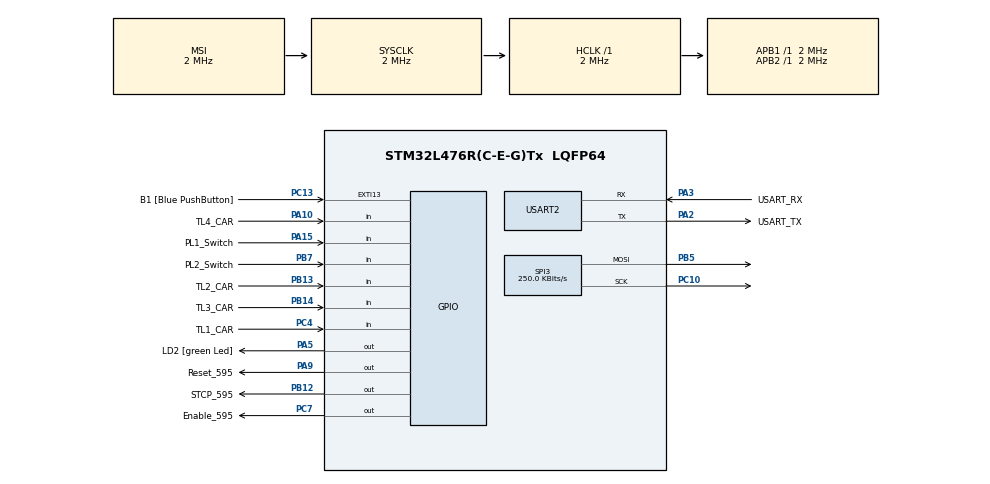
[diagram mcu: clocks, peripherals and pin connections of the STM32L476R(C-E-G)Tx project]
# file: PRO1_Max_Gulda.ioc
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Dma.Request0=SPI3_TX
Dma.SPI3_TX.0.Direction=DMA_MEMORY_TO_PERIPH
Dma.SPI3_TX.0.Instance=DMA2_Channel2
Dma.SPI3_TX.0.MemDataAlignment=DMA_MDATAALIGN_BYTE
Dma.SPI3_TX.0.MemInc=DMA_MINC_ENABLE
Dma.SPI3_TX.0.Mode=DMA_NORMAL
Dma.SPI3_TX.0.PeriphDataAlignment=DMA_PDATAALIGN_BYTE
Dma.SPI3_TX.0.PeriphInc=DMA_PINC_DISABLE
Dma.SPI3_TX.0.Priority=DMA_PRIORITY_LOW
FREERTOS.BinarySemaphores01=Semaphore,Dynamic,NULL
FREERTOS.Tasks01=defaultTask,24,128,StartDefaultTask,Default,NULL,Dynamic,NULL,NULL;toggleBlueLight,8,128,BlueLight,Default,NULL,Dynamic,NULL,NULL;UpdateInputOutp,40,128,inputOutput,Default,NULL,Dynamic,NULL,NULL;updateStateTask,24,128,updateState,Default,NULL,Dynamic,NULL,NULL
FREERTOS.Timers01=Delay,DelayCallback,osTimerOnce,Default,NULL,Dynamic,NULL
Mcu.Family=STM32L4
Mcu.Name=STM32L476R(C-E-G)Tx
Mcu.Package=LQFP64
NVIC.DMA2_Channel2_IRQn=true\:5\:0\:false\:false\:true\:true\:false\:true\:true
NVIC.PriorityGroup=NVIC_PRIORITYGROUP_4
NVIC.TIM1_UP_TIM16_IRQn=true\:15\:0\:false\:false\:true\:false\:false\:true\:true
NVIC.TimeBase=TIM1_UP_TIM16_IRQn
NVIC.TimeBaseIP=TIM1
PA10.GPIO_Label=TL4_CAR
PA10.GPIO_PuPd=GPIO_PULLUP
PA10.Signal=GPIO_Input
PA13\ (JTMS-SWDIO).GPIO_Label=TMS
PA13\ (JTMS-SWDIO).Mode=Serial_Wire
PA13\ (JTMS-SWDIO).Signal=SYS_JTMS-SWDIO
PA14\ (JTCK-SWCLK).GPIO_Label=TCK
PA14\ (JTCK-SWCLK).Mode=Serial_Wire
PA14\ (JTCK-SWCLK).Signal=SYS_JTCK-SWCLK
PA15\ (JTDI).GPIO_Label=PL1_Switch
PA15\ (JTDI).GPIO_PuPd=GPIO_PULLUP
PA15\ (JTDI).Signal=GPIO_Input
PA2.GPIO_Label=USART_TX
PA2.GPIO_Mode=GPIO_MODE_AF_PP
PA2.GPIO_PuPd=GPIO_NOPULL
PA2.GPIO_Speed=GPIO_SPEED_FREQ_VERY_HIGH
PA2.Mode=Asynchronous
PA2.Signal=USART2_TX
PA3.GPIO_Label=USART_RX
PA3.GPIO_Mode=GPIO_MODE_AF_PP
PA3.GPIO_PuPd=GPIO_NOPULL
PA3.GPIO_Speed=GPIO_SPEED_FREQ_VERY_HIGH
PA3.Mode=Asynchronous
PA3.Signal=USART2_RX
PA5.GPIO_Label=LD2 [green Led]
PA5.GPIO_ModeDefaultOutputPP=GPIO_MODE_OUTPUT_PP
PA5.GPIO_PuPd=GPIO_NOPULL
PA5.GPIO_Speed=GPIO_SPEED_FREQ_LOW
PA5.Signal=GPIO_Output
PA9.GPIO_Label=Reset_595
PA9.Signal=GPIO_Output
PB12.GPIO_Label=STCP_595
PB12.Signal=GPIO_Output
PB13.GPIO_Label=TL2_CAR
PB13.GPIO_PuPd=GPIO_PULLUP
PB13.Signal=GPIO_Input
PB14.GPIO_Label=TL3_CAR
PB14.GPIO_PuPd=GPIO_PULLUP
PB14.Signal=GPIO_Input
PB3\ (JTDO-TRACESWO).GPIO_Label=SWO
PB3\ (JTDO-TRACESWO).Signal=SYS_JTDO-SWO
PB5.Mode=TX_Only_Simplex_Unidirect_Master
PB5.Signal=SPI3_MOSI
PB7.GPIO_Label=PL2_Switch
PB7.GPIO_PuPd=GPIO_PULLUP
PB7.Signal=GPIO_Input
PC10.Mode=TX_Only_Simplex_Unidirect_Master
PC10.Signal=SPI3_SCK
PC13.GPIO_Label=B1 [Blue PushButton]
PC13.GPIO_ModeDefaultEXTI=GPIO_MODE_IT_FALLING
PC13.GPIO_PuPd=GPIO_NOPULL
PC13.Signal=GPXTI13
PC14-OSC32_IN\ (PC14).Mode=LSE-External-Oscillator
PC14-OSC32_IN\ (PC14).Signal=RCC_OSC32_IN
PC15-OSC32_OUT\ (PC15).Mode=LSE-External-Oscillator
PC15-OSC32_OUT\ (PC15).Signal=RCC_OSC32_OUT
PC4.GPIO_Label=TL1_CAR
PC4.GPIO_PuPd=GPIO_PULLUP
PC4.Signal=GPIO_Input
PC7.GPIO_Label=Enable_595
PC7.Signal=GPIO_Output
PH0-OSC_IN\ (PH0).Signal=RCC_OSC_IN
PH1-OSC_OUT\ (PH1).Signal=RCC_OSC_OUT
ProjectManager.HeapSize=0x200
ProjectManager.StackSize=0x400
ProjectManager.TargetToolchain=STM32CubeIDE
RCC.ADCFreq_Value=64000000
RCC.AHBFreq_Value=2000000
RCC.APB1Freq_Value=2000000
RCC.APB1TimFreq_Value=2000000
RCC.APB2Freq_Value=2000000
RCC.APB2TimFreq_Value=2000000
RCC.CortexFreq_Value=2000000
RCC.HCLKFreq_Value=2000000
RCC.HSE_VALUE=8000000
RCC.HSI_VALUE=16000000
RCC.MSIClockRange=RCC_MSIRANGE_5
RCC.MSI_VALUE=2000000
RCC.PLLN=10
RCC.PLLSourceVirtual=RCC_PLLSOURCE_HSI
RCC.PREFETCH_ENABLE=1
RCC.SYSCLKFreq_VALUE=2000000
RCC.USBFreq_Value=64000000
RCC.VCOOutputFreq_Value=160000000
SPI3.BaudRatePrescaler=SPI_BAUDRATEPRESCALER_8
SPI3.CalculateBaudRate=250.0 KBits/s
SPI3.DataSize=SPI_DATASIZE_8BIT
SPI3.Direction=SPI_DIRECTION_2LINES
SPI3.Mode=SPI_MODE_MASTER
SPI3.VirtualType=VM_MASTER
USART2.VirtualMode-Asynchronous=VM_ASYNC
VP_FREERTOS_VS_CMSIS_V2.Mode=CMSIS_V2
VP_SYS_VS_tim1.Mode=TIM1
board=NUCLEO-L476RG

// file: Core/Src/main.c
/* USER CODE BEGIN Header */
/**
  ******************************************************************************
  * @file           : main.c
  * @brief          : Main program body
  ******************************************************************************
  * @attention
  *
  * Copyright (c) 2023 STMicroelectronics.
  * All rights reserved.
  *
  * This software is licensed under terms that can be found in the LICENSE file
  * in the root directory of this software component.
  * If no LICENSE file comes with this software, it is provided AS-IS.
  *
  ******************************************************************************
  */
/* USER CODE END Header */
#include "main.h"
#include "cmsis_os.h"
#include "dma.h"
#include "spi.h"
#include "usart.h"
#include "gpio.h"

/* USER CODE BEGIN Includes */
#include <stdio.h>
/* USER CODE END Includes */

void SystemClock_Config(void);
void MX_FREERTOS_Init(void);

/* USER CODE BEGIN 0 */
#define PUTCHAR_PROTOTYPE int __io_putchar(int ch)
PUTCHAR_PROTOTYPE
{
  /* Place your implementation of fputc here */
  /* e.g. write a character to the USART1 and Loop until the end of transmission */
  HAL_UART_Transmit(&huart2, (uint8_t *)&ch, 1, 0xFFFF);

  return ch;
}
/* USER CODE END 0 */

int main(void)
{

  /* MCU Configuration--------------------------------------------------------*/

  /* Reset of all peripherals, Initializes the Flash interface and the Systick. */
  HAL_Init();

  /* Configure the system clock */
  SystemClock_Config();

  /* Initialize all configured peripherals */
  MX_GPIO_Init();
  MX_DMA_Init();
  MX_USART2_UART_Init();
  MX_SPI3_Init();
  /* USER CODE BEGIN 2 */
  initTrafficLights(&hspi3);
  init_TrafficInputs();
  printf("\n\rInit done\n\r");

  HAL_PWREx_EnableLowPowerRunMode();
  //Test_Program();

  /* USER CODE END 2 */

  /* Init scheduler */
  osKernelInitialize();  /* Call init function for freertos objects (in freertos.c) */
  MX_FREERTOS_Init();

  /* Start scheduler */
  osKernelStart();

  /* We should never get here as control is now taken by the scheduler */
  /* Infinite loop */
  while (1)
  {

  }
}

void SystemClock_Config(void)
{
  RCC_OscInitTypeDef RCC_OscInitStruct = {0};
  RCC_ClkInitTypeDef RCC_ClkInitStruct = {0};

  /** Configure the main internal regulator output voltage
  */
  if (HAL_PWREx_ControlVoltageScaling(PWR_REGULATOR_VOLTAGE_SCALE1) != HAL_OK)
  {
    Error_Handler();
  }

  /** Configure LSE Drive Capability
  */
  HAL_PWR_EnableBkUpAccess();
  __HAL_RCC_LSEDRIVE_CONFIG(RCC_LSEDRIVE_LOW);

  /** Initializes the RCC Oscillators according to the specified parameters
  * in the RCC_OscInitTypeDef structure.
  */
  RCC_OscInitStruct.OscillatorType = RCC_OSCILLATORTYPE_LSE|RCC_OSCILLATORTYPE_MSI;
  RCC_OscInitStruct.LSEState = RCC_LSE_ON;
  RCC_OscInitStruct.MSIState = RCC_MSI_ON;
  RCC_OscInitStruct.MSICalibrationValue = 0;
  RCC_OscInitStruct.MSIClockRange = RCC_MSIRANGE_5;
  RCC_OscInitStruct.PLL.PLLState = RCC_PLL_NONE;
  if (HAL_RCC_OscConfig(&RCC_OscInitStruct) != HAL_OK)
  {
    Error_Handler();
  }

  /** Initializes the CPU, AHB and APB buses clocks
  */
  RCC_ClkInitStruct.ClockType = RCC_CLOCKTYPE_HCLK|RCC_CLOCKTYPE_SYSCLK
                              |RCC_CLOCKTYPE_PCLK1|RCC_CLOCKTYPE_PCLK2;
  RCC_ClkInitStruct.SYSCLKSource = RCC_SYSCLKSOURCE_MSI;
  RCC_ClkInitStruct.AHBCLKDivider = RCC_SYSCLK_DIV1;
  RCC_ClkInitStruct.APB1CLKDivider = RCC_HCLK_DIV1;
  RCC_ClkInitStruct.APB2CLKDivider = RCC_HCLK_DIV1;

  if (HAL_RCC_ClockConfig(&RCC_ClkInitStruct, FLASH_LATENCY_0) != HAL_OK)
  {
    Error_Handler();
  }

  /** Enable MSI Auto calibration
  */
  HAL_RCCEx_EnableMSIPLLMode();
}

void HAL_TIM_PeriodElapsedCallback(TIM_HandleTypeDef *htim)
{
  if (htim->Instance == TIM1) {
    HAL_IncTick();
  }
}

void Error_Handler(void)
{
  __disable_irq();
  while (1)
  {
  }
}

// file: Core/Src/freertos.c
/* USER CODE BEGIN Header */
/**
  ******************************************************************************
  * File Name          : freertos.c
  * Description        : Code for freertos applications
  ******************************************************************************
  * @attention
  *
  * Copyright (c) 2023 STMicroelectronics.
  * All rights reserved.
  *
  * This software is licensed under terms that can be found in the LICENSE file
  * in the root directory of this software component.
  * If no LICENSE file comes with this software, it is provided AS-IS.
  *
  ******************************************************************************
  */
/* USER CODE END Header */

#include "FreeRTOS.h"
#include "task.h"
#include "main.h"
#include "cmsis_os.h"

/* USER CODE BEGIN Includes */
#include "TrafficLogic.h"
#include "trafficLights.h"
#include "TrafficInputs.h"
#include "stdbool.h"
/* USER CODE END Includes */

/* USER CODE BEGIN Variables */

ButtonStates inputState;

ButtonStates tempInputState;

TrafficCrossingAction *TrafficAction;

int blue_blink = 0;

int input_output = 0;

int update_state = 0;

int timer_callback = 0;

/* USER CODE END Variables */
/* Definitions for defaultTask */
osThreadId_t defaultTaskHandle;
const osThreadAttr_t defaultTask_attributes = {
  .name = "defaultTask",
  .stack_size = 128 * 4,
  .priority = (osPriority_t) osPriorityNormal,
};
/* Definitions for toggleBlueLight */
osThreadId_t toggleBlueLightHandle;
const osThreadAttr_t toggleBlueLight_attributes = {
  .name = "toggleBlueLight",
  .stack_size = 128 * 4,
  .priority = (osPriority_t) osPriorityLow,
};
/* Definitions for UpdateInputOutp */
osThreadId_t UpdateInputOutpHandle;
const osThreadAttr_t UpdateInputOutp_attributes = {
  .name = "UpdateInputOutp",
  .stack_size = 128 * 4,
  .priority = (osPriority_t) osPriorityHigh,
};
/* Definitions for updateStateTask */
osThreadId_t updateStateTaskHandle;
const osThreadAttr_t updateStateTask_attributes = {
  .name = "updateStateTask",
  .stack_size = 128 * 4,
  .priority = (osPriority_t) osPriorityNormal,
};
/* Definitions for Delay */
osTimerId_t DelayHandle;
const osTimerAttr_t Delay_attributes = {
  .name = "Delay"
};
/* Definitions for Semaphore */
osSemaphoreId_t SemaphoreHandle;
const osSemaphoreAttr_t Semaphore_attributes = {
  .name = "Semaphore"
};

void StartDefaultTask(void *argument);
void BlueLight(void *argument);
void inputOutput(void *argument);
void updateState(void *argument);
void DelayCallback(void *argument);

void MX_FREERTOS_Init(void); /* (MISRA C 2004 rule 8.1) */

void MX_FREERTOS_Init(void) {

  /* Create the semaphores(s) */
  /* creation of Semaphore */
  SemaphoreHandle = osSemaphoreNew(1, 1, &Semaphore_attributes);

  /* Create the timer(s) */
  /* creation of Delay */
  DelayHandle = osTimerNew(DelayCallback, osTimerOnce, NULL, &Delay_attributes);

  /* Create the thread(s) */
  /* creation of defaultTask */
  defaultTaskHandle = osThreadNew(StartDefaultTask, NULL, &defaultTask_attributes);

  /* creation of toggleBlueLight */
  toggleBlueLightHandle = osThreadNew(BlueLight, NULL, &toggleBlueLight_attributes);

  /* creation of UpdateInputOutp */
  UpdateInputOutpHandle = osThreadNew(inputOutput, NULL, &UpdateInputOutp_attributes);

  /* creation of updateStateTask */
  updateStateTaskHandle = osThreadNew(updateState, NULL, &updateStateTask_attributes);

  /* USER CODE BEGIN RTOS_EVENTS */
  //initTrafficLogic(PedOneLane);
  //initTrafficLogic(NoPedTwoLane);
  initTrafficLogic(PedTwoLane);
  TrafficAction = getTrafficAction();

  /* add events, ... */
  /* USER CODE END RTOS_EVENTS */

}

void StartDefaultTask(void *argument)
{
  for(;;)
  {
    osDelay(1);
  }
}

/* USER CODE BEGIN Header_BlueLight */
/**
 * @brief Function implementing the BlueLight thread.
 *
 * This function toggles the blue pedestrian lights based on pedestrian waiting
 * signals. It's checking the status of pedestrian waiting signals and toggling
 * the blue lights accordingly.
 *
 * @param argument Not used in this function.
 * @retval None
 */
/* USER CODE END Header_BlueLight */
void BlueLight(void *argument)
{
  /* USER CODE BEGIN BlueLight */
	TickType_t xLastWakeTime;
	const TickType_t xPeriod = pdMS_TO_TICKS(TOGGLE_FREQ) ; // ms to ticks
	// Initialise the xLastWakeTime variable with the current time.
	xLastWakeTime = xTaskGetTickCount();
  /* Infinite loop */
  for(;;)
  {
	  blue_blink = 1;
	  if(TrafficAction->LeftPedWaiting){
		  toggleBlueLeft();
	  } else {
		  ControlLight(BLUE_PED_LEFT, OFF);
	  }
	  if(TrafficAction->TopPedWaiting){
		  toggleBlueTop();
	  } else {
		  ControlLight(BLUE_PED_TOP, OFF);
	  }
	  blue_blink = 0;
	  vTaskDelayUntil(&xLastWakeTime, xPeriod);
  }
  /* USER CODE END BlueLight */
}

/* USER CODE BEGIN Header_inputOutput */
/**
 * @brief Function implementing the UpdateInputOutput thread.
 *
 * This function is responsible for continuously updating the state of inputs
 * and outputs for the traffic light control system. It's periodically checking
 *  and updating the status of traffic and pedestrian inputs, and subsequently
 *  updating the traffic lights accordingly. The function ensures synchronization
 *  using a semaphore to manage concurrent access to shared resources.
 *
 * @param argument Not used in this function.
 * @retval None
 */
/* USER CODE END Header_inputOutput */
void inputOutput(void *argument)
{
  /* USER CODE BEGIN inputOutput */

	TickType_t xLastWakeTime;
	const TickType_t xPeriod = pdMS_TO_TICKS(20) ; // ms to ticks
	xLastWakeTime = xTaskGetTickCount();

  /* Infinite loop */
  for(;;)
  {
	  input_output = 1;
	  if(osSemaphoreAcquire(SemaphoreHandle, 0)){
		  tempInputState = getInputState();
		  if(tempInputState.BottomCar){
			  inputState.BottomCar = true;
		  }
		  if(tempInputState.LeftCar){
			  inputState.LeftCar = true;
		  }
		  if(tempInputState.LeftPed){
			  inputState.LeftPed = true;
		  }
		  if(tempInputState.RightCar){
			  inputState.RightCar = true;
		  }
		  if(tempInputState.TopCar){
			  inputState.TopCar = true;
		  }
		  if(tempInputState.TopPed){
			  inputState.TopPed = true;
		  }

		  osSemaphoreRelease(SemaphoreHandle);
	  }
	  trafficInputs_Update();
	  updateLights();
	  input_output = 0;
	  vTaskDelayUntil(&xLastWakeTime, xPeriod);
  }
  /* USER CODE END inputOutput */
}

/* USER CODE BEGIN Header_updateState */
/**
 * @brief Function implementing the updateStateTask thread.
 *
 * This function handles the logic for updating the state of the traffic light system.
 * It processes the current input state, applies traffic logic, and determines if an
 * immediate state change is required or if a delay is needed before transitioning to
 * the next state. The function also handles the stopping and starting of timers for
 * state transitions and uses a semaphore for managing shared resources.
 *
 * @param argument Not used in this function.
 * @retval None
 */
/* USER CODE END Header_updateState */
void updateState(void *argument)
{
  /* USER CODE BEGIN updateState */
	TickType_t xLastWakeTime;
	const TickType_t xPeriod = pdMS_TO_TICKS(50) ; // ms to ticks
	xLastWakeTime = xTaskGetTickCount();
  /* Infinite loop */
  for(;;)
  {
	  update_state = 1;
	  TrafficCrossing(inputState);
	  if(TrafficAction->SwitchImidiate){
		  osTimerStop(DelayHandle);
		  ActivateNextState();
		  //printf("Switching state directly!\r\n");
	  }else if(TrafficAction->StartTimerForNextState){
		  //printf("Starting timer for %d ms\r\n", TrafficAction->KeepStateFor);
		  osTimerStart(DelayHandle, pdMS_TO_TICKS(TrafficAction->KeepStateFor));
		  TrafficAction->StartTimerForNextState = false;
	  }
	  if(TrafficAction->AbortTimer){
		  osTimerStop(DelayHandle);
		  TrafficAction->AbortTimer = false;
	  }
	  if(osSemaphoreAcquire(SemaphoreHandle, 0)){
		  inputState.BottomCar = false;
		  inputState.LeftCar = false;
		  inputState.LeftPed = false;
		  inputState.RightCar = false;
		  inputState.TopCar = false;
		  inputState.TopPed = false;

		  osSemaphoreRelease(SemaphoreHandle);
	  }

	  update_state=0;
	  vTaskDelayUntil(&xLastWakeTime, xPeriod);
  }
  /* USER CODE END updateState */
}

/* DelayCallback function */
void DelayCallback(void *argument)
{
  /* USER CODE BEGIN DelayCallback */
	timer_callback = 1;
	ActivateNextState();
	timer_callback = 0;
  /* USER CODE END DelayCallback */
}
